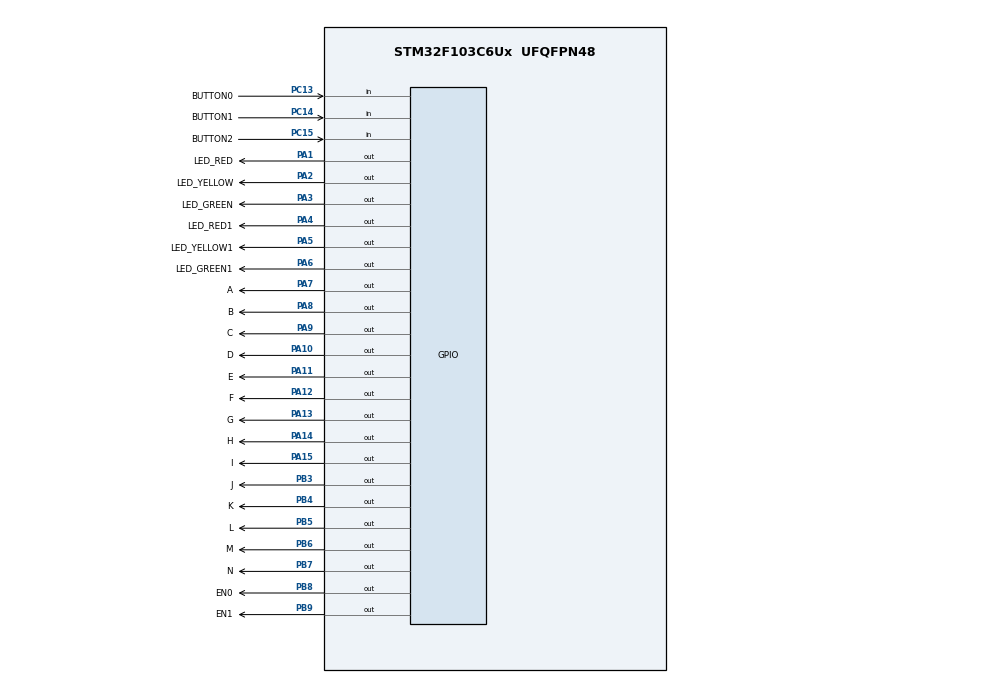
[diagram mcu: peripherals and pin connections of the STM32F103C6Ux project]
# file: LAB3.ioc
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Mcu.Family=STM32F1
Mcu.Name=STM32F103C6Ux
Mcu.Package=UFQFPN48
NVIC.PriorityGroup=NVIC_PRIORITYGROUP_4
NVIC.TIM2_IRQn=true\:0\:0\:false\:false\:true\:true\:true
PA1.GPIO_Label=LED_RED
PA1.Signal=GPIO_Output
PA10.GPIO_Label=D
PA10.Signal=GPIO_Output
PA11.GPIO_Label=E
PA11.Signal=GPIO_Output
PA12.GPIO_Label=F
PA12.Signal=GPIO_Output
PA13.GPIO_Label=G
PA13.Signal=GPIO_Output
PA14.GPIO_Label=H
PA14.Signal=GPIO_Output
PA15.GPIO_Label=I
PA15.Signal=GPIO_Output
PA2.GPIO_Label=LED_YELLOW
PA2.Signal=GPIO_Output
PA3.GPIO_Label=LED_GREEN
PA3.Signal=GPIO_Output
PA4.GPIO_Label=LED_RED1
PA4.Signal=GPIO_Output
PA5.GPIO_Label=LED_YELLOW1
PA5.Signal=GPIO_Output
PA6.GPIO_Label=LED_GREEN1
PA6.Signal=GPIO_Output
PA7.GPIO_Label=A
PA7.Signal=GPIO_Output
PA8.GPIO_Label=B
PA8.Signal=GPIO_Output
PA9.GPIO_Label=C
PA9.Signal=GPIO_Output
PB3.GPIO_Label=J
PB3.Signal=GPIO_Output
PB4.GPIO_Label=K
PB4.Signal=GPIO_Output
PB5.GPIO_Label=L
PB5.Signal=GPIO_Output
PB6.GPIO_Label=M
PB6.Signal=GPIO_Output
PB7.GPIO_Label=N
PB7.Signal=GPIO_Output
PB8.GPIO_Label=EN0
PB8.Signal=GPIO_Output
PB9.GPIO_Label=EN1
PB9.Signal=GPIO_Output
PC13-TAMPER-RTC.GPIO_Label=BUTTON0
PC13-TAMPER-RTC.Signal=GPIO_Input
PC14-OSC32_IN.GPIO_Label=BUTTON1
PC14-OSC32_IN.Signal=GPIO_Input
PC15-OSC32_OUT.GPIO_Label=BUTTON2
PC15-OSC32_OUT.Signal=GPIO_Input
ProjectManager.HeapSize=0x200
ProjectManager.StackSize=0x400
ProjectManager.TargetToolchain=STM32CubeIDE
RCC.APB1Freq_Value=8000000
RCC.APB2Freq_Value=8000000
TIM2.Period=9
TIM2.Prescaler=7999
VP_SYS_VS_ND.Mode=No_Debug
VP_TIM2_VS_ClockSourceINT.Mode=Internal
board=custom

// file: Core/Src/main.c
/* USER CODE BEGIN Header */
/**
  ******************************************************************************
  * @file           : main.c
  * @brief          : Main program body
  ******************************************************************************
  * @attention
  *
  * <h2><center>&copy; Copyright (c) 2024 STMicroelectronics.
  * All rights reserved.</center></h2>
  *
  * This software component is licensed by ST under BSD 3-Clause license,
  * the "License"; You may not use this file except in compliance with the
  * License. You may obtain a copy of the License at:
  *                        opensource.org/licenses/BSD-3-Clause
  *
  ******************************************************************************
  */
/* USER CODE END Header */
#include "main.h"

/* USER CODE BEGIN Includes */
#include "software_timer.h"
#include "button.h"
#include "traffic_light.h"
#include "led7_segment.h"
#include "fsm_automatic.h"
#include "fsm_manual.h"
#include "scheduler.h"
/* USER CODE END Includes */

TIM_HandleTypeDef htim2;

void SystemClock_Config(void);
static void MX_GPIO_Init(void);
static void MX_TIM2_Init(void);

int main(void)
{

  /* MCU Configuration--------------------------------------------------------*/

  /* Reset of all peripherals, Initializes the Flash interface and the Systick. */
  HAL_Init();

  /* Configure the system clock */
  SystemClock_Config();

  /* Initialize all configured peripherals */
  MX_GPIO_Init();
  MX_TIM2_Init();
  /* USER CODE BEGIN 2 */
  HAL_TIM_Base_Start_IT(&htim2);
  /* USER CODE END 2 */

  /* Infinite loop */
  /* USER CODE BEGIN WHILE */
  SCH_Init();
  HAL_GPIO_WritePin(EN0_GPIO_Port, EN0_Pin, SET);
  HAL_GPIO_WritePin(EN1_GPIO_Port, EN1_Pin, SET);

  SCH_Add_Task(update_buffer, 100, 100);
  SCH_Add_Task(fsm_automatic_run, 0, 1);
  SCH_Add_Task(fsm_manual_run, 0, 25);
  SCH_Add_Task(led7_segment_run, 5, 50);
  while (1)
  {
	  SCH_Dispatcher();
//	  fsm_automatic_run();
//	  fsm_manual_run();
    /* USER CODE END WHILE */

  }
}

void SystemClock_Config(void)
{
  RCC_OscInitTypeDef RCC_OscInitStruct = {0};
  RCC_ClkInitTypeDef RCC_ClkInitStruct = {0};

  /** Initializes the RCC Oscillators according to the specified parameters
  * in the RCC_OscInitTypeDef structure.
  */
  RCC_OscInitStruct.OscillatorType = RCC_OSCILLATORTYPE_HSI;
  RCC_OscInitStruct.HSIState = RCC_HSI_ON;
  RCC_OscInitStruct.HSICalibrationValue = RCC_HSICALIBRATION_DEFAULT;
  RCC_OscInitStruct.PLL.PLLState = RCC_PLL_NONE;
  if (HAL_RCC_OscConfig(&RCC_OscInitStruct) != HAL_OK)
  {
    Error_Handler();
  }
  /** Initializes the CPU, AHB and APB buses clocks
  */
  RCC_ClkInitStruct.ClockType = RCC_CLOCKTYPE_HCLK|RCC_CLOCKTYPE_SYSCLK
                              |RCC_CLOCKTYPE_PCLK1|RCC_CLOCKTYPE_PCLK2;
  RCC_ClkInitStruct.SYSCLKSource = RCC_SYSCLKSOURCE_HSI;
  RCC_ClkInitStruct.AHBCLKDivider = RCC_SYSCLK_DIV1;
  RCC_ClkInitStruct.APB1CLKDivider = RCC_HCLK_DIV1;
  RCC_ClkInitStruct.APB2CLKDivider = RCC_HCLK_DIV1;

  if (HAL_RCC_ClockConfig(&RCC_ClkInitStruct, FLASH_LATENCY_0) != HAL_OK)
  {
    Error_Handler();
  }
}

static void MX_TIM2_Init(void)
{

  TIM_ClockConfigTypeDef sClockSourceConfig = {0};
  TIM_MasterConfigTypeDef sMasterConfig = {0};

  htim2.Instance = TIM2;
  htim2.Init.Prescaler = 7999;
  htim2.Init.CounterMode = TIM_COUNTERMODE_UP;
  htim2.Init.Period = 9;
  htim2.Init.ClockDivision = TIM_CLOCKDIVISION_DIV1;
  htim2.Init.AutoReloadPreload = TIM_AUTORELOAD_PRELOAD_DISABLE;
  if (HAL_TIM_Base_Init(&htim2) != HAL_OK)
  {
    Error_Handler();
  }
  sClockSourceConfig.ClockSource = TIM_CLOCKSOURCE_INTERNAL;
  if (HAL_TIM_ConfigClockSource(&htim2, &sClockSourceConfig) != HAL_OK)
  {
    Error_Handler();
  }
  sMasterConfig.MasterOutputTrigger = TIM_TRGO_RESET;
  sMasterConfig.MasterSlaveMode = TIM_MASTERSLAVEMODE_DISABLE;
  if (HAL_TIMEx_MasterConfigSynchronization(&htim2, &sMasterConfig) != HAL_OK)
  {
    Error_Handler();
  }

}

static void MX_GPIO_Init(void)
{
  GPIO_InitTypeDef GPIO_InitStruct = {0};

  /* GPIO Ports Clock Enable */
  __HAL_RCC_GPIOC_CLK_ENABLE();
  __HAL_RCC_GPIOA_CLK_ENABLE();
  __HAL_RCC_GPIOB_CLK_ENABLE();

  /*Configure GPIO pin Output Level */
  HAL_GPIO_WritePin(GPIOA, LED_RED_Pin|LED_YELLOW_Pin|LED_GREEN_Pin|LED_RED1_Pin
                          |LED_YELLOW1_Pin|LED_GREEN1_Pin|A_Pin|B_Pin
                          |C_Pin|D_Pin|E_Pin|F_Pin
                          |G_Pin|H_Pin|I_Pin, GPIO_PIN_RESET);

  /*Configure GPIO pin Output Level */
  HAL_GPIO_WritePin(GPIOB, J_Pin|K_Pin|L_Pin|M_Pin
                          |N_Pin|EN0_Pin|EN1_Pin, GPIO_PIN_RESET);

  /*Configure GPIO pins : BUTTON0_Pin BUTTON1_Pin BUTTON2_Pin */
  GPIO_InitStruct.Pin = BUTTON0_Pin|BUTTON1_Pin|BUTTON2_Pin;
  GPIO_InitStruct.Mode = GPIO_MODE_INPUT;
  GPIO_InitStruct.Pull = GPIO_NOPULL;
  HAL_GPIO_Init(GPIOC, &GPIO_InitStruct);

  /*Configure GPIO pins : LED_RED_Pin LED_YELLOW_Pin LED_GREEN_Pin LED_RED1_Pin
                           LED_YELLOW1_Pin LED_GREEN1_Pin A_Pin B_Pin
                           C_Pin D_Pin E_Pin F_Pin
                           G_Pin H_Pin I_Pin */
  GPIO_InitStruct.Pin = LED_RED_Pin|LED_YELLOW_Pin|LED_GREEN_Pin|LED_RED1_Pin
                          |LED_YELLOW1_Pin|LED_GREEN1_Pin|A_Pin|B_Pin
                          |C_Pin|D_Pin|E_Pin|F_Pin
                          |G_Pin|H_Pin|I_Pin;
  GPIO_InitStruct.Mode = GPIO_MODE_OUTPUT_PP;
  GPIO_InitStruct.Pull = GPIO_NOPULL;
  GPIO_InitStruct.Speed = GPIO_SPEED_FREQ_LOW;
  HAL_GPIO_Init(GPIOA, &GPIO_InitStruct);

  /*Configure GPIO pins : J_Pin K_Pin L_Pin M_Pin
                           N_Pin EN0_Pin EN1_Pin */
  GPIO_InitStruct.Pin = J_Pin|K_Pin|L_Pin|M_Pin
                          |N_Pin|EN0_Pin|EN1_Pin;
  GPIO_InitStruct.Mode = GPIO_MODE_OUTPUT_PP;
  GPIO_InitStruct.Pull = GPIO_NOPULL;
  GPIO_InitStruct.Speed = GPIO_SPEED_FREQ_LOW;
  HAL_GPIO_Init(GPIOB, &GPIO_InitStruct);

}

/* USER CODE BEGIN 4 */
void HAL_TIM_PeriodElapsedCallback(TIM_HandleTypeDef *htim)
{
	SCH_Update();
	getKeyInput();
}
/* USER CODE END 4 */

void Error_Handler(void)
{
  __disable_irq();
  while (1)
  {
  }
}

/************************ (C) COPYRIGHT STMicroelectronics *****END OF FILE****/
